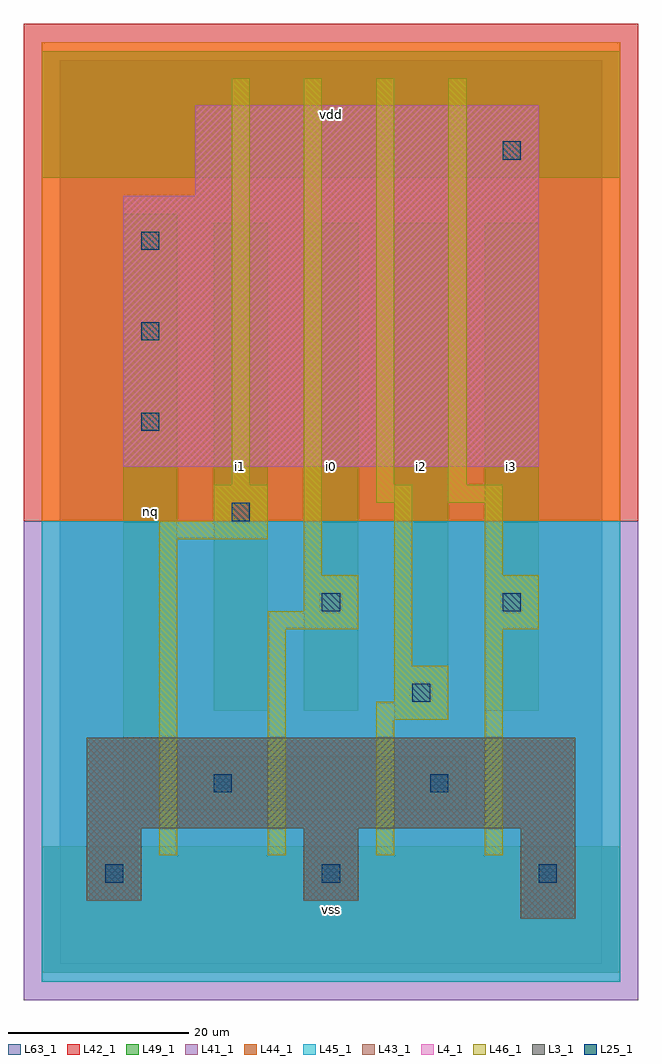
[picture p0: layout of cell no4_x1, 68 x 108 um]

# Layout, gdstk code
import gdstk
lib = gdstk.Library(unit=1e-6, precision=1e-09)
def R(c, l, rs):  # rectangles x0, y0, x1, y1
    for r in rs: c.add(gdstk.rectangle(r[:2], r[2:], *l))
def A(c, l, x, y, w, h, nx, ny, dx, dy):  # array of equal rectangles
    R(c, l, [(x+i*dx, y+j*dy, x+i*dx+w, y+j*dy+h) for i in range(nx) for j in range(ny)])
L3_1 = (3, 1)
L4_1 = (4, 1)
L25_1 = (25, 1)
L41_1 = (41, 1)
L42_1 = (42, 1)
L43_1 = (43, 1)
L44_1 = (44, 1)
L45_1 = (45, 1)
L46_1 = (46, 1)
L49_1 = (49, 1)
L63_1 = (63, 1)

no4_x1 = lib.new_cell('no4_x1')
R(no4_x1, L3_1, [(51,5,57,15), (3,7,9,15), (27,7,33,15), (3,15,57,25)])
R(no4_x1, L4_1, [(7,55,53,85), (15,85,53,95)])
A(no4_x1, L25_1, 5, 9, 2, 2, 3, 1, 24, 0)
A(no4_x1, L25_1, 9, 59, 2, 2, 1, 3, 0, 10)
R(no4_x1, L25_1, [(17,19,19,21), (41,19,43,21), (39,29,41,31), (29,39,31,41), (49,39,51,41), (19,49,21,51), (49,89,51,91)])
R(no4_x1, L41_1, [(-4,-4,64,49)])
R(no4_x1, L42_1, [(-4,49,64,104)])
R(no4_x1, L43_1, [(51,5,57,15), (3,7,9,15), (27,7,33,15), (3,15,57,25), (7,55,53,85), (15,85,53,95)])
R(no4_x1, L44_1, [(-2,49,62,102)])
R(no4_x1, L45_1, [(-2,-2,62,49)])
R(no4_x1, L46_1, [(11,12,13,47), (23,12,25,37), (35,12,37,27), (47,12,49,37), (35,27,43,29), (37,29,43,33), (37,33,39,51), (23,37,33,39), (47,37,53,43), (27,39,33,43), (27,43,29,98), (47,43,49,51), (11,47,23,49), (17,49,23,53), (35,51,39,53), (43,51,49,53), (19,53,21,98), (35,53,37,98), (43,53,45,98)])
R(no4_x1, L49_1, [(-2,-1,62,13), (7,17,45,23), (7,23,13,83), (37,27,43,82), (17,28,23,82), (27,28,33,82), (47,28,53,82), (-2,87,62,101)])
R(no4_x1, L63_1, [(0,0,60,100)])
no4_x1.add(gdstk.Label('nq', (10,50), layer=49, texttype=1))
no4_x1.add(gdstk.Label('nq', (10,50), layer=49, texttype=1))
no4_x1.add(gdstk.Label('i1', (20,55), layer=49, texttype=1))
no4_x1.add(gdstk.Label('i1', (20,55), layer=49, texttype=1))
no4_x1.add(gdstk.Label('vss', (30,6), layer=49, texttype=1))
no4_x1.add(gdstk.Label('vss', (30,6), layer=49, texttype=1))
no4_x1.add(gdstk.Label('i0', (30,55), layer=49, texttype=1))
no4_x1.add(gdstk.Label('i0', (30,55), layer=49, texttype=1))
no4_x1.add(gdstk.Label('i2', (40,55), layer=49, texttype=1))
no4_x1.add(gdstk.Label('i2', (40,55), layer=49, texttype=1))
no4_x1.add(gdstk.Label('vdd', (30,94), layer=49, texttype=1))
no4_x1.add(gdstk.Label('vdd', (30,94), layer=49, texttype=1))
no4_x1.add(gdstk.Label('i3', (50,55), layer=49, texttype=1))
no4_x1.add(gdstk.Label('i3', (50,55), layer=49, texttype=1))

lib.write_gds('no4_x1.gds')
